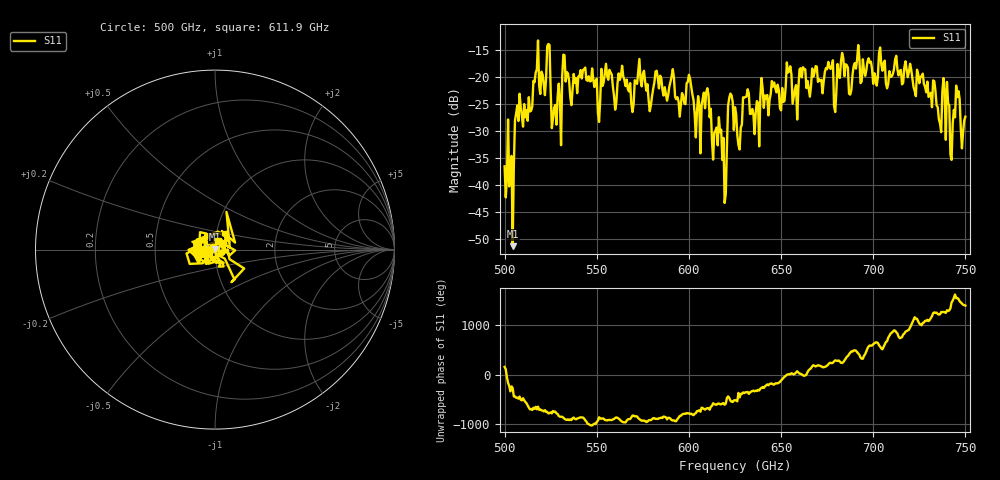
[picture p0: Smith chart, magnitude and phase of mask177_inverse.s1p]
!Created with skrf (http://scikit-rf.org).
# GHz S MA R 50.0
!freq magS11 angS11
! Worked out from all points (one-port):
!   401 points, 500 GHz to 750 GHz, reference 50 ohm
!   lowest |S11| = -51.2 dB at 504.4 GHz (marker M1), VSWR 1.01, Z = 50 + j0.273 ohm
!   |S11| at or under -10 dB: start of sweep to end of sweep
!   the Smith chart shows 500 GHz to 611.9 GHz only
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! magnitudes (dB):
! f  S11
! 500 GHz  -36.5
! 504.4 GHz  -51.2
! 506.9 GHz  -25.2
! 513.8 GHz  -26.3
! 516.9 GHz  -19.1
! 523.8 GHz  -13.8
! 526.9 GHz  -25.6
! 531.2 GHz  -19.8
! 562.5 GHz  -20.5
! 593.8 GHz  -23.7
! 600 GHz  -19.5
! 605 GHz  -23.5
! 609.4 GHz  -22.8
! 619.4 GHz  -43.3
! 622.5 GHz  -23.0
! 625 GHz  -25.5
! 656.2 GHz  -24.9
! 676.9 GHz  -18.4
! 680 GHz  -22.5
! 683.8 GHz  -16.5
! 687.5 GHz  -23.2
! 691.2 GHz  -16.7
! 718.8 GHz  -20.0
! 735.6 GHz  -27.8
! 738.8 GHz  -22.8
! 743.1 GHz  -28.5
! 745.6 GHz  -23.7
! 750 GHz  -27.3
